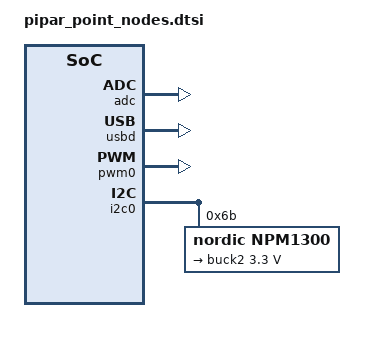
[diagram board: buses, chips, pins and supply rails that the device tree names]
&reg1 {
	regulator-initial-mode = <NRF5X_REG_MODE_DCDC>;
};

&adc {
  status = "okay";
};

&gpiote {
  status = "okay";
};

&gpio0 {
  status = "okay";
};

&gpio1 {
  status = "okay";
};

zephyr_udc0: &usbd {
  status = "okay";
};

&pwm0 {
  status = "okay";
  pinctrl-0 = <&pwm0_default>;
  pinctrl-1 = <&pwm0_sleep>;
  pinctrl-names = "default", "sleep";
};

&i2c0 {
	compatible = "nordic,nrf-twim";
	status = "okay";
	pinctrl-0 = <&i2c0_default>;
	pinctrl-1 = <&i2c0_sleep>;
	pinctrl-names = "default", "sleep";

	npm1300: pmic@6b {
		compatible = "nordic,npm1300";
		reg = <0x6b>;

    npm1300_leds: leds {
			compatible = "nordic,npm1300-led";
			nordic,led0-mode = "error";
			nordic,led1-mode = "charging";
			nordic,led2-mode = "host";
		};
		regulators {
			compatible = "nordic,npm1300-regulator";

			buck1: BUCK1 {
				regulator-boot-off;
        status = "disabled";
			};

      buck2: BUCK2 {  
				regulator-min-microvolt = <3300000>;
				regulator-max-microvolt = <3300000>;
				regulator-boot-on;
        regulator-always-on;
			};  

			ldo1: LDO1 {
				status = "disabled";
			};

			ldo2: LDO2 {
				status = "disabled";
			};
		};

		charger: charger {
			compatible = "nordic,npm1300-charger";
      term-microvolt = <4200000>;          /* 4.2 V full charge */
      term-warm-microvolt = <4000000>;     /* 4.0 V if warm (JEITA region) */
      current-microamp = <500000>;         /* 0.2 C = 500 mA charge current */
      term-current-percent = <10>;         /* terminate when current ≤ 0.1 C = 250 mA */
      dischg-limit-microamp = <1000000>;   /* allow 1 A discharge */
      vbus-limit-microamp = <500000>;      /* USB current limit 500 mA */
      /* No thermistor (disable NTC) */
      thermistor-ohms = <0>;
      thermistor-beta = <0>;
			charging-enable;
		};
	};
};

&flash0 {
    /*
     * For more information, see:
     * http://docs.zephyrproject.org/latest/devices/dts/flash_partitions.html
     */
  partitions {
    compatible = "fixed-partitions";
    #address-cells = <1>;
    #size-cells = <1>;

    sd_partition: partition@0 {
      reg = <0x00000000 0x00026000>;
    };
    code_partition: partition@26000 {
      reg = <0x00026000 0x000c6000>;
    };

    /*
      * The flash starting at 0x000ec000 and ending at
      * 0x000f3fff is reserved for use by the application.
      */

    /*
      * Storage partition will be used by FCB/LittleFS/NVS
      * if enabled.
      */
    storage_partition: partition@ec000 {
      reg = <0x000ec000 0x00008000>;
    };

    boot_partition: partition@f4000 {
      reg = <0x000f4000 0x0000c000>;
    };
  };
};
